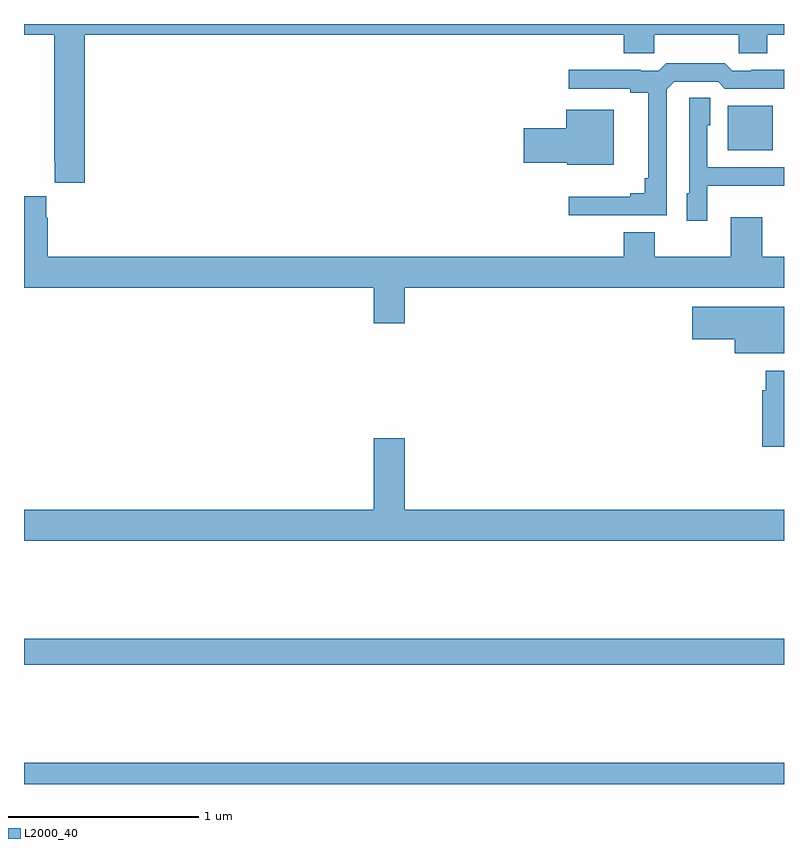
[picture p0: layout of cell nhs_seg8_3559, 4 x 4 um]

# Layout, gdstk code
import gdstk
lib = gdstk.Library(unit=1e-6, precision=1e-09)
def R(c, l, rs):  # rectangles x0, y0, x1, y1
    for r in rs: c.add(gdstk.rectangle(r[:2], r[2:], *l))
def P(c, l, *ps):  # polygons
    for p in ps: c.add(gdstk.Polygon(p, *l))
L2000_40 = (2000, 40)

nhs_seg8_3559 = lib.new_cell('nhs_seg8_3559')
R(nhs_seg8_3559, L2000_40, [(331,1101.9,335,1102.012), (331,1102.528,335,1102.664), (334.703,1105.235,334.942,1105.471)])
P(nhs_seg8_3559, L2000_40, [(331.319,1105.844),(334.157,1105.844),(334.157,1105.746),(334.317,1105.746),(334.317,1105.844),(334.762,1105.844),(334.762,1105.746),(334.912,1105.746),(334.912,1105.844),(335,1105.844),(335,1105.9),(331,1105.9),(331,1105.844),(331.159,1105.844),(331.159,1105.177),(331.163,1105.177),(331.163,1105.065),(331.319,1105.065)],
  [(334.383,1105.557),(334.422,1105.596),(334.653,1105.596),(334.689,1105.56),(335,1105.56),(335,1105.658),(334.828,1105.658),(334.828,1105.653),(334.728,1105.653),(334.689,1105.693),(334.381,1105.693),(334.341,1105.653),(334.247,1105.653),(334.247,1105.658),(333.867,1105.658),(333.867,1105.56),(334.19,1105.56),(334.19,1105.538),(334.286,1105.538),(334.286,1105.087),(334.267,1105.087),(334.267,1105.01),(334.19,1105.01),(334.19,1104.991),(333.867,1104.991),(333.867,1104.894),(334.383,1104.894)],
  [(334.596,1105.049),(334.913,1105.049),(334.913,1105.05),(335,1105.05),(335,1105.146),(334.596,1105.146),(334.596,1105.368),(334.612,1105.368),(334.612,1105.511),(334.5,1105.511),(334.5,1105.008),(334.487,1105.008),(334.487,1104.864),(334.596,1104.864)],
  [(334.105,1105.45),(333.854,1105.45),(333.854,1105.352),(333.63,1105.352),(333.63,1105.169),(333.858,1105.169),(333.858,1105.16),(334.105,1105.16)],
  [(333.004,1104.512),(335,1104.512),(335,1104.676),(334.885,1104.676),(334.885,1104.883),(334.721,1104.883),(334.721,1104.676),(334.321,1104.676),(334.321,1104.805),(334.157,1104.805),(334.157,1104.676),(331.124,1104.676),(331.124,1104.881),(331.117,1104.881),(331.117,1104.994),(331,1104.994),(331,1104.512),(332.84,1104.512),(332.84,1104.324),(333.004,1104.324)],
  [(335,1104.412),(334.518,1104.412),(334.518,1104.242),(334.742,1104.242),(334.742,1104.167),(335,1104.167)],
  [(335,1104.076),(334.905,1104.076),(334.905,1103.972),(334.885,1103.972),(334.885,1103.676),(335,1103.676)],
  [(335,1103.344),(333.004,1103.344),(333.004,1103.719),(332.84,1103.719),(332.84,1103.344),(331,1103.344),(331,1103.18),(335,1103.18)])

lib.write_gds('nhs_seg8_3559.gds')
